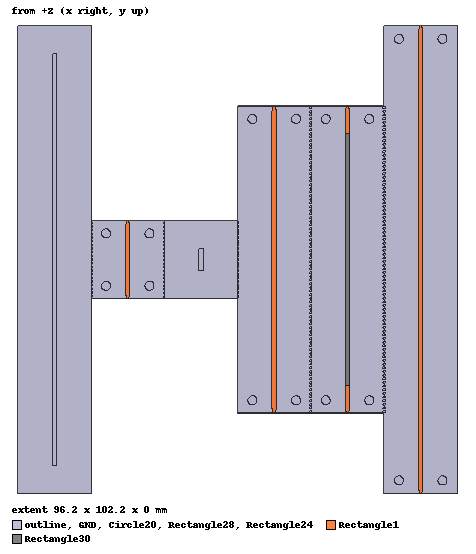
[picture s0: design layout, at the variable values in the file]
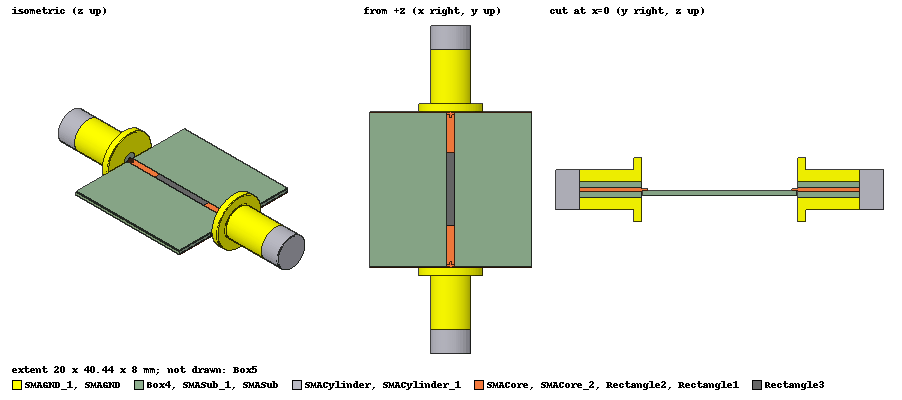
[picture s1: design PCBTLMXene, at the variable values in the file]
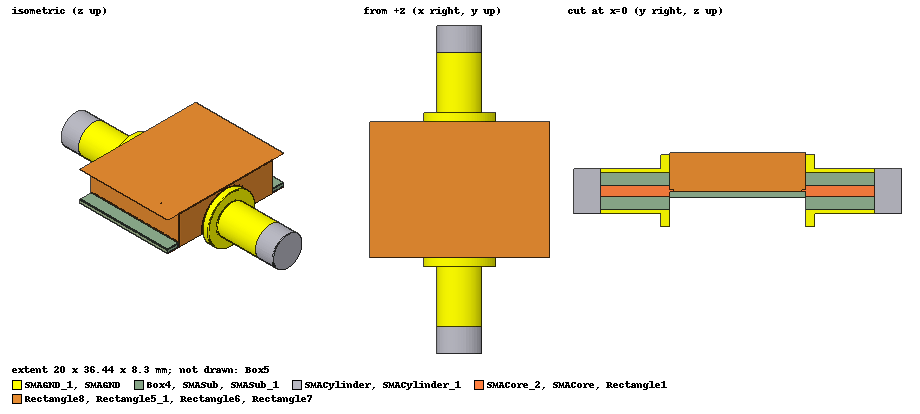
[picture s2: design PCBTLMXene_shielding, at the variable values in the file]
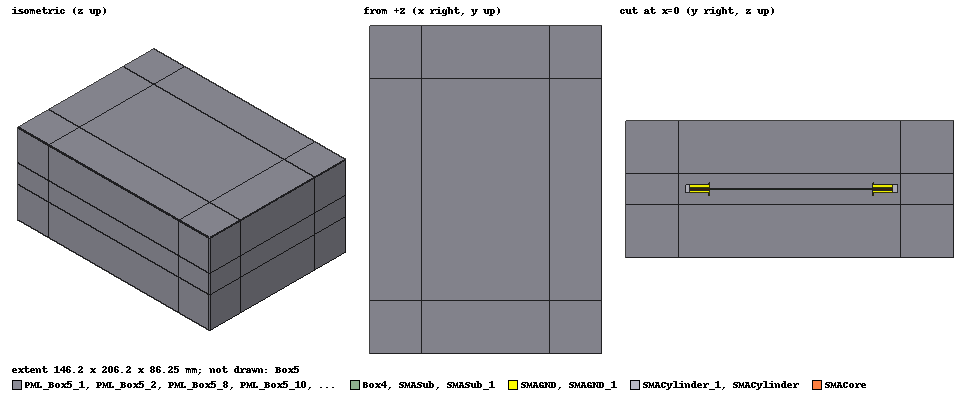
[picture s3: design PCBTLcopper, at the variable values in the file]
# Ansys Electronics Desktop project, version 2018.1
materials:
  vacuum: permittivity=1
  FR4_epoxy: permittivity=4.4 dielectric_loss_tangent=0.02
  Teflon (tm): permittivity=2.1 dielectric_loss_tangent=0.001
  brass: conductivity=15000000
  copper: permeability=0.999991 conductivity=58000000
  pec: conductivity=1e+30
  PMLGroup1_XYZ_7: permittivity{anisotropic component1=1.1 component2=1.1 component3=1.1} permeability{anisotropic component1=1.1 component2=1.1 component3=1.1} dielectric_loss_tangent{anisotropic component1=1 component2=1 component3=1} magnetic_loss_tangent{anisotropic component1=1 component2=1 component3=1}
  PMLGroup1_XZ_7: permittivity{anisotropic component1=1 component2=0.01 component3=1} permeability{anisotropic component1=1 component2=0.01 component3=1} dielectric_loss_tangent{anisotropic component1=0 component2=242 component3=0} magnetic_loss_tangent{anisotropic component1=0 component2=242 component3=0}
  PMLGroup1_YZ_7: permittivity{anisotropic component1=0.01 component2=1 component3=1} permeability{anisotropic component1=0.01 component2=1 component3=1} dielectric_loss_tangent{anisotropic component1=242 component2=0 component3=0} magnetic_loss_tangent{anisotropic component1=242 component2=0 component3=0}
  PMLGroup1_Z_7: permittivity{anisotropic component1=1.1 component2=1.1 component3=0.45454545} permeability{anisotropic component1=1.1 component2=1.1 component3=0.45454545} dielectric_loss_tangent{anisotropic component1=1 component2=1 component3=-1} magnetic_loss_tangent{anisotropic component1=1 component2=1 component3=-1}
  nickel: permeability=600 conductivity=14500000
  steel_stainless: conductivity=1100000
  PMLGroup1_Z_8: permittivity{anisotropic component1=1.1 component2=1.1 component3=0.45454545} permeability{anisotropic component1=1.1 component2=1.1 component3=0.45454545} dielectric_loss_tangent{anisotropic component1=1 component2=1 component3=-1} magnetic_loss_tangent{anisotropic component1=1 component2=1 component3=-1}
  PMLGroup1_XZ_8: permittivity{anisotropic component1=1 component2=0.01 component3=1} permeability{anisotropic component1=1 component2=0.01 component3=1} dielectric_loss_tangent{anisotropic component1=0 component2=242 component3=0} magnetic_loss_tangent{anisotropic component1=0 component2=242 component3=0}
  PMLGroup1_YZ_8: permittivity{anisotropic component1=0.01 component2=1 component3=1} permeability{anisotropic component1=0.01 component2=1 component3=1} dielectric_loss_tangent{anisotropic component1=242 component2=0 component3=0} magnetic_loss_tangent{anisotropic component1=242 component2=0 component3=0}
  PMLGroup1_XYZ_8: permittivity{anisotropic component1=1.1 component2=1.1 component3=1.1} permeability{anisotropic component1=1.1 component2=1.1 component3=1.1} dielectric_loss_tangent{anisotropic component1=1 component2=1 component3=1} magnetic_loss_tangent{anisotropic component1=1 component2=1 component3=1}

design layout (HFSS, DrivenModal, model units mm)
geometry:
  Rectangle1 = rectangle(corner=(-19mil, 0mm, 0mm), x_size=38mil, y_size=-40mil)
  Polyline1 = polyline(z=0mm, xy in mm: (-0.2032, -1.016) (-0.4826, 0) (-0.4826, -1.016) (-0.2032, -1.016), closed, covered)
  Polyline1_1 = Polyline1.duplicate_mirror(point=(0mm, 0mm, 0mm), normal=(1mm, 0mm, 0mm))
  Rectangle1.subtract(Polyline1, Polyline1_1)
  Rectangle2 = rectangle(corner=(-0.4826mm, 0mm, 0mm), x_size=38mil, y_size=5mm)
  Rectangle1.unite(Rectangle2)
  Rectangle1.move(0mm, -5mm, 0mm)
  Circle20 = circle(normal=Z, centre=(-4.765mm, 2.79mm, 0mm), radius=0.9906mm)
  Circle20_1 = Circle20.duplicate_mirror(point=(0mm, 0mm, 0mm), normal=(1mm, 0mm, 0mm))
  Circle20.unite(Circle20_1)
  Circle20.move(0mm, -6.016mm, 0mm)
  Rectangle1_1..Rectangle1_5 = Rectangle1.duplicate_along_line(step=(16mm, 0mm, 0mm), total=6)
  Circle20_2..Circle20_6 = Circle20.duplicate_along_line(step=(16mm, 0mm, 0mm), total=6)
  [Circle20, Rectangle1].move(0mm, -2.5mm, 0mm)
  Circle20_7 = Circle20.duplicate_mirror(point=(0mm, 0mm, 0mm), normal=(0mm, 1mm, 0mm))
  Rectangle1_6 = Rectangle1.duplicate_mirror(point=(0mm, 0mm, 0mm), normal=(0mm, 1mm, 0mm))
  GND = rectangle(corner=(-8mm, -5mm-40mil-2.5mm, 0mm), x_size=16mm, y_size=-2*(-5mm-40mil-2.5mm))
  [Circle20_2, Rectangle1_1].move(0mm, -2.5mm, 0mm)
  Circle20_2_1 = Circle20_2.duplicate_mirror(point=(0mm, 0mm, 0mm), normal=(0mm, 1mm, 0mm))
  Rectangle1_1_1 = Rectangle1_1.duplicate_mirror(point=(0mm, 0mm, 0mm), normal=(0mm, 1mm, 0mm))
  Rectangle4 = rectangle(corner=(8mm, (-5mm-40mil-2.5mm), 0mm), x_size=16mm, y_size=-2*(-5mm-40mil-2.5mm))
  [Circle20_3, Rectangle1_2].move(0mm, -27.5mm, 0mm)
  Circle20_3_1 = Circle20_3.duplicate_mirror(point=(0mm, 0mm, 0mm), normal=(0mm, 1mm, 0mm))
  Rectangle1_2_1 = Rectangle1_2.duplicate_mirror(point=(0mm, 0mm, 0mm), normal=(0mm, 1mm, 0mm))
  Rectangle5 = rectangle(corner=(24mm, (-5mm-40mil-27.5mm), 0mm), x_size=16mm, y_size=-2*(-5mm-40mil-27.5mm))
  [Circle20_4, Rectangle1_3].move(0mm, -27.5mm, 0mm)
  Circle20_4_1 = Circle20_4.duplicate_mirror(point=(0mm, 0mm, 0mm), normal=(0mm, 1mm, 0mm))
  Rectangle1_3_1 = Rectangle1_3.duplicate_mirror(point=(0mm, 0mm, 0mm), normal=(0mm, 1mm, 0mm))
  Rectangle6 = rectangle(corner=(40mm, (-5mm-40mil-27.5mm), 0mm), x_size=16mm, y_size=-2*(-5mm-40mil-27.5mm))
  [Circle20_5, Rectangle1_4].move(0mm, -45mm, 0mm)
  Circle20_5_1 = Circle20_5.duplicate_mirror(point=(0mm, 0mm, 0mm), normal=(0mm, 1mm, 0mm))
  Rectangle1_4_1 = Rectangle1_4.duplicate_mirror(point=(0mm, 0mm, 0mm), normal=(0mm, 1mm, 0mm))
  Rectangle7 = rectangle(corner=(56mm, (-5mm-40mil-45mm), 0mm), x_size=16mm, y_size=-2*(-5mm-40mil-45mm))
  Rectangle8 = rectangle(corner=(-8mm, (-5mm-40mil-45mm), 0mm), x_size=-16mm, y_size=-2*(-5mm-40mil-45mm))
  [Circle20_6, Rectangle1_5].move(-96mm, -45mm, 0mm)
  Circle20_6_1 = Circle20_6.duplicate_mirror(point=(0mm, 0mm, 0mm), normal=(0mm, 1mm, 0mm))
  Rectangle1_5_1 = Rectangle1_5.duplicate_mirror(point=(0mm, 0mm, 0mm), normal=(0mm, 1mm, 0mm))
  Circle21 = circle(normal=Z, centre=(-8mm, -8mm, 0mm), radius=0.25mm)
  Circle21.duplicate_along_line(step=(0mm, 0.8mm, 0mm), total=21, attached)
  Circle21_1, Circle21_2 = Circle21.duplicate_along_line(step=(16mm, 0mm, 0mm), total=3)
  Circle22 = circle(normal=Z, centre=(40mm, -33.2mm, 0mm), radius=0.25mm)
  Circle22.duplicate_along_line(step=(0mm, 0.8mm, 0mm), total=84, attached)
  GND.unite(Rectangle4..Rectangle8)
  Rectangle10 = rectangle(corner=(-0.4826mm, -2.5mm, 0mm), x_size=0.9652mm, y_size=5mm)
  Rectangle11 = rectangle(corner=(31.5174mm, -27.5mm, 0mm), x_size=0.9652mm, y_size=55mm)
  Rectangle12 = rectangle(corner=(63.5174mm, -45mm, 0mm), x_size=0.9652mm, y_size=90mm)
  Rectangle1.unite(Rectangle1_1, Rectangle1_1_1, Rectangle1_2, Rectangle1_2_1, Rectangle1_3, Rectangle1_3_1, Rectangle1_4, Rectangle1_4_1, Rectangle1_5, Rectangle1_5_1, Rectangle1_6, Rectangle10, Rectangle11, Rectangle12)
  outline = rectangle(corner=(-24mm, -51.116mm, 0mm), x_size=-0.1mm, y_size=102.216mm)
  Rectangle16 = rectangle(corner=(-8mm, -8.516mm, 0mm), x_size=0.1mm, y_size=-42.6mm)
  Rectangle17 = rectangle(corner=(-24mm, -51.116mm, 0mm), x_size=16mm, y_size=0.1mm)
  Rectangle18 = rectangle(corner=(-7.9mm, -8.516mm, 0mm), x_size=31.9mm, y_size=-0.1mm)
  Rectangle19 = rectangle(corner=(24mm, -8.616mm, 0mm), x_size=-0.1mm, y_size=-25mm)
  Rectangle20 = rectangle(corner=(24mm, -33.616mm, 0mm), x_size=32mm, y_size=0.1mm)
  Rectangle21 = rectangle(corner=(56mm, -33.616mm, 0mm), x_size=-0.1mm, y_size=-17.5mm)
  Rectangle22 = rectangle(corner=(56mm, -51.116mm, 0mm), x_size=16.1mm, y_size=0.1mm)
  Rectangle23 = rectangle(corner=(72.1mm, -51.016mm, 0mm), x_size=-0.1mm, y_size=102.032mm)
  outline.unite(Rectangle16..Rectangle23)
  Rectangle15_1 = outline.duplicate_mirror(point=(0mm, 0mm, 0mm), normal=(0mm, 1mm, 0mm))
  outline.unite(Rectangle15_1)
  Circle22_1 = Circle22.duplicate_along_line(step=(16mm, 0mm, 0mm), total=2)
  Circle20.unite(Circle20_2, Circle20_2_1, Circle20_3, Circle20_3_1, Circle20_4, Circle20_4_1, Circle20_5, Circle20_5_1, Circle20_6, Circle20_6_1, Circle20_7, Circle21, Circle21_1, Circle21_2, Circle22, Circle22_1)
  Rectangle24 = rectangle(corner=(8mm, -8.5mm, 0mm), x_size=16mm, y_size=17.016mm)
  Rectangle25 = rectangle(corner=(15.5174mm, -2.5mm, 0mm), x_size=0.9652mm, y_size=5mm)
  Rectangle24.subtract(Rectangle25)
  Rectangle28 = rectangle(corner=(-24mm, -51.016mm, 0mm), x_size=16mm, y_size=102.032mm)
  Rectangle29 = rectangle(corner=(-16.4826mm, -45mm, 0mm), x_size=0.9652mm, y_size=90mm)
  Rectangle28.subtract(Rectangle29)
  Rectangle30 = rectangle(corner=(47.5174mm, -27.5mm, 0mm), x_size=0.9652mm, y_size=55mm)

design PCBTLMXene (HFSS, DrivenModal, model units mm)
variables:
  w50 = 38mil
  R_core = 0.2675mm
  R_pin = 0.1mm
  L_pin = 0.7mm
  R_out = 1.85mm/2
  Length = 19mm
  th = 0.6mm
  cond = 800000
  h_sbox = 5mm
  th_MX = 0.7um
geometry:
  SMACore [copper] = cylinder(axis=Y, base_centre=(0mm, 0mm, 0mm), radius=R_core, height=-7.62mm)
  Core_1 = SMACore.copy()
  SMACore.move(0mm, -0.1mm, R_pin)
  SMAPin = cylinder(axis=Y, base_centre=(0mm, 0mm, 0mm), radius=R_pin, height=L_pin)
  SMAPin.move(0mm, -0.1mm, R_pin)
  SMACore.unite(SMAPin)
  SMACore_1 = SMACore.copy()
  coordinate_system RelativeCS2 = origin=(0mm, Length/2, 0mm) x=(1mm, 0mm, 0mm) y=(0mm, 1mm, 0mm)
  SMACore_2 [copper] = SMACore.duplicate_mirror(point=(0mm, 0mm, 0mm), normal=(0mm, 1mm, 0mm)) in RelativeCS2
  Box3 = box(corner=(w50/2, 0, 0mm), size=(-w50, 0.2mm, 0.1mm))
  Box3_1 = Box3.duplicate_mirror(point=(0mm, 0mm, 0mm), normal=(0mm, 1mm, 0mm)) in RelativeCS2
  SMACore.unite(Box3)
  SMASub [Teflon (tm)] = cylinder(axis=Y, base_centre=(0mm, 0mm, 0mm), radius=R_out, height=-7.62mm)
  Sub_1 = SMASub.copy()
  SMASub.subtract(Core_1)
  SMASub.move(0mm, -0.1mm, R_pin)
  SMASub.subtract(SMACore_1)
  SMASub_1 [Teflon (tm)] = SMASub.duplicate_mirror(point=(0mm, 0mm, 0mm), normal=(0mm, 1mm, 0mm)) in RelativeCS2
  SMAGND [brass] = cylinder(axis=Y, base_centre=(0mm, 0mm, 0mm), radius=2.5mm, height=-7.62mm)
  Cylinder5 = cylinder(axis=Y, base_centre=(0mm, 0mm, 0mm), radius=4mm, height=-1mm)
  SMAGND.unite(Cylinder5)
  SMAGND.subtract(Sub_1)
  SMAGND.move(0mm, -0.1mm, R_pin)
  SMAGND_1 [brass] = SMAGND.duplicate_mirror(point=(0mm, 0mm, 0mm), normal=(0mm, 1mm, 0mm)) in RelativeCS2
  SMAport1 = circle(normal=Y, centre=(0mm, -7.62mm, 0mm), radius=R_out)
  Circle1 = circle(normal=Y, centre=(0mm, -7.62mm, 0mm), radius=R_core)
  SMAport1.subtract(Circle1)
  SMAport1.move(0mm, -0.1mm, R_pin)
  SMAport2 = SMAport1.duplicate_mirror(point=(0mm, 0mm, 0mm), normal=(0mm, 1mm, 0mm)) in RelativeCS2
  SMACylinder [pec] = cylinder(axis=Y, base_centre=(0mm, -7.62mm, 0mm), radius=2.5mm, height=-3mm)
  SMACylinder.move(0mm, -0.1mm, R_pin)
  SMACylinder_1 [pec] = SMACylinder.duplicate_mirror(point=(0mm, 0mm, 0mm), normal=(0mm, 1mm, 0mm)) in RelativeCS2
  SMACore_2.unite(Box3_1)
  Rectangle1 = rectangle(corner=(-w50/2, 0, 0mm), x_size=w50, y_size=5mm)
  Box4 [FR4_epoxy] = box(corner=(-10mm, 0mm, 0mm), size=(20mm, Length, -th))
  Rectangle2 = rectangle(corner=(10mm, -0.1mm, -th), x_size=-20mm, y_size=length+0.2mm)
  Box5 [vacuum] = box(corner=(-40mm, -20mm, -10mm), size=(80mm, 140mm, 20mm))
  Rectangle3 = rectangle(corner=(-w50/2, 5mm, 0mm), x_size=w50, y_size=Length-10mm)
  Rectangle1_1 = Rectangle1.duplicate_mirror(point=(0mm, 0mm, 0mm), normal=(0mm, 1mm, 0mm)) in RelativeCS2
  Rectangle1.unite(Rectangle1_1)
  group SMA_Group = SMACore, SMASub, SMAGND, SMAport1, SMACylinder, SMACore_2, SMASub_1, SMAGND_1, SMAport2, SMACylinder_1
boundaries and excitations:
  FiniteCond1: Finite Conductivity Objects=Rectangle2 Conductivity=58000000 Permeability=1 Thickness=35um Roughness=1um IsInternal
  FiniteCond2: Finite Conductivity Objects=Rectangle1 UseMaterial Material=copper Thickness=35um Roughness=1um IsInternal
  Rad1: Radiation Objects=Box5
  MXene: Finite Conductivity Objects=Rectangle3 Conductivity=cond Permeability=1 Thickness=th_MX IsInternal
  1: Wave Port Objects=SMAport1 NumModes=1 Modes{Mode1{CharImp=Zpi}}
  2: Wave Port Objects=SMAport2 NumModes=1 Modes{Mode1{CharImp=Zpi}}
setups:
  Setup1: HfssDriven Frequency=2GHz MaxDeltaS=0.02 MaximumPasses=20 MinimumPasses=1 MinimumConvergedPasses=1 PercentRefinement=30 BasisOrder=1 PortAccuracy=2
    sweep Sweep: 0.5GHz to 10GHz, 96 points; Type=Discrete SaveFields SaveRadFields
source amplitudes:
  1:1: 1W 0deg
  2:1: 0W 0deg
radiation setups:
  Infinite Sphere1: Infinite Sphere Theta=-180deg..180deg step 2deg Phi=-180deg..180deg step 2deg
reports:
  S Parameter Plot 3: dB(S(2,1)) vs Freq on Setup1 : Sweep [w50=all cond=400000,800000 th_MX=0.7um,1.4um]; markers m1 at 5.02GHz, m2 at 5.02GHz, m5 at 10GHz, m6 at 0.5GHz
  S Parameter Plot 4: re(S(1,1)), im(S(1,1)), re(S(1,2)), im(S(1,2)), re(S(2,1)), im(S(2,1)), re(S(2,2)), im(S(2,2)) vs Freq on Setup1 : Sweep
  Attenuation: -dB(S(2,1))/8.68/length, dB((1-mag(S(1,1))^2)/mag(S(2,1))^2)/8.68/2/length vs Freq on Setup1 : Sweep
   Plot 2: cang_deg(S(1,2))-2*pi vs Freq on Setup1 : Sweep [Length=15mm,30mm,50mm,80mm cond=1e+06]; markers m1 at 1GHz, m2 at 10GHz
  Antenna Params Table 1: RadiationEfficiency vs Freq on Setup1 : LastAdaptive; RadiationEfficiency vs Freq on Setup1 : Sweep [Freq=10GHz]
  S Parameter Chart 1: S(1,1) on Setup1 : Sweep [Freq=all]; markers m1 at 1GHz

design PCBTLMXene_shielding (HFSS, DrivenModal, model units mm)
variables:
  w50 = 38mil
  R_core = 0.635mm
  R_pin = 0.1mm
  L_pin = 0.5mm
  R_out = 2.0574mm
  Length = 15mm
  th = 0.6mm
  cond = 250000
  h_sbox = 5mm
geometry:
  SMACore [copper] = cylinder(axis=Y, base_centre=(0mm, 0mm, 0mm), radius=R_core, height=-7.62mm)
  Core_1 = SMACore.copy()
  SMACore.move(0mm, -0.1mm, R_pin)
  SMAPin = cylinder(axis=Y, base_centre=(0mm, 0mm, 0mm), radius=R_pin, height=L_pin)
  SMAPin.move(0mm, -0.1mm, R_pin)
  SMACore.unite(SMAPin)
  SMACore_1 = SMACore.copy()
  coordinate_system RelativeCS2 = origin=(0mm, Length/2, 0mm) x=(1mm, 0mm, 0mm) y=(0mm, 1mm, 0mm)
  SMACore_2 [copper] = SMACore.duplicate_mirror(point=(0mm, 0mm, 0mm), normal=(0mm, 1mm, 0mm)) in RelativeCS2
  Box3 = box(corner=(w50/2, 0, 0mm), size=(-w50, 0.2mm, 0.1mm))
  Box3_1 = Box3.duplicate_mirror(point=(0mm, 0mm, 0mm), normal=(0mm, 1mm, 0mm)) in RelativeCS2
  SMACore.unite(Box3)
  SMASub [Teflon (tm)] = cylinder(axis=Y, base_centre=(0mm, 0mm, 0mm), radius=R_out, height=-7.62mm)
  Sub_1 = SMASub.copy()
  SMASub.subtract(Core_1)
  SMASub.move(0mm, -0.1mm, R_pin)
  SMASub.subtract(SMACore_1)
  SMASub_1 [Teflon (tm)] = SMASub.duplicate_mirror(point=(0mm, 0mm, 0mm), normal=(0mm, 1mm, 0mm)) in RelativeCS2
  SMAGND [brass] = cylinder(axis=Y, base_centre=(0mm, 0mm, 0mm), radius=2.5mm, height=-7.62mm)
  Cylinder5 = cylinder(axis=Y, base_centre=(0mm, 0mm, 0mm), radius=4mm, height=-1mm)
  SMAGND.unite(Cylinder5)
  SMAGND.subtract(Sub_1)
  SMAGND.move(0mm, -0.1mm, R_pin)
  SMAGND_1 [brass] = SMAGND.duplicate_mirror(point=(0mm, 0mm, 0mm), normal=(0mm, 1mm, 0mm)) in RelativeCS2
  SMAport1 = circle(normal=Y, centre=(0mm, -7.62mm, 0mm), radius=R_out)
  Circle1 = circle(normal=Y, centre=(0mm, -7.62mm, 0mm), radius=R_core)
  SMAport1.subtract(Circle1)
  SMAport1.move(0mm, -0.1mm, R_pin)
  SMAport2 = SMAport1.duplicate_mirror(point=(0mm, 0mm, 0mm), normal=(0mm, 1mm, 0mm)) in RelativeCS2
  SMACylinder [pec] = cylinder(axis=Y, base_centre=(0mm, -7.62mm, 0mm), radius=2.5mm, height=-3mm)
  SMACylinder.move(0mm, -0.1mm, R_pin)
  SMACylinder_1 [pec] = SMACylinder.duplicate_mirror(point=(0mm, 0mm, 0mm), normal=(0mm, 1mm, 0mm)) in RelativeCS2
  SMACore_2.unite(Box3_1)
  Rectangle1 = rectangle(corner=(-w50/2, 0, 0mm), x_size=w50, y_size=5mm)
  Box4 [FR4_epoxy] = box(corner=(-10mm, 0mm, 0mm), size=(20mm, Length, -th))
  Rectangle2 = rectangle(corner=(10mm, -0.1mm, -th), x_size=-20mm, y_size=length+0.2mm)
  Box5 [vacuum] = box(corner=(-40mm, -20mm, -10mm), size=(80mm, 50mm, 20mm))
  Rectangle3 = rectangle(corner=(-w50/2, 5mm, 0mm), x_size=w50, y_size=Length-10mm)
  Rectangle1_1 = Rectangle1.duplicate_mirror(point=(0mm, 0mm, 0mm), normal=(0mm, 1mm, 0mm)) in RelativeCS2
  Rectangle1.unite(Rectangle1_1)
  Rectangle5 = rectangle(corner=(-8mm, -0.1mm, -0.6mm), z_size=h_sbox, x_size=16mm)
  Circle2 = circle(normal=Y, centre=(0mm, -0.1mm, R_pin), radius=4mm)
  Rectangle5.subtract(Circle2)
  Rectangle6 = rectangle(corner=(8mm, -0.1mm, -th), y_size=0.2mm+length, z_size=h_sbox)
  Rectangle7 = rectangle(corner=(-8mm, -0.1mm, -th), y_size=0.2mm+length, z_size=h_sbox)
  Rectangle8 = rectangle(corner=(10mm, -0.1mm, h_sbox-th), x_size=-20mm, y_size=0.2mm+length)
  Rectangle5_1 = Rectangle5.duplicate_along_line(step=(0mm, 0.2mm+length, 0mm), total=2)
  Rectangle1.unite(Rectangle3)
  Rectangle1.unite(Rectangle2)
  group SMA_Group = SMACore, SMASub, SMAGND, SMAport1, SMACylinder, SMACore_2, SMASub_1, SMAGND_1, SMAport2, SMACylinder_1
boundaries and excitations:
  Rad1: Radiation Objects=Box5
  PerfE1: Perfect E Objects=[Rectangle5, Rectangle5_1, Rectangle6, Rectangle7, Rectangle8]
  FiniteCond1: Finite Conductivity Objects=Rectangle1 Conductivity=cond Permeability=1 Thickness=30um IsInternal
  1: Wave Port Objects=SMAport1 NumModes=1 Modes{Mode1{CharImp=Zpi}}
  2: Wave Port Objects=SMAport2 NumModes=1 Modes{Mode1{CharImp=Zpi}}
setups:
  Setup1: HfssDriven Frequency=5GHz MaxDeltaS=0.01 MaximumPasses=20 MinimumPasses=1 MinimumConvergedPasses=1 PercentRefinement=30 BasisOrder=1 PortAccuracy=2
    sweep Sweep: point 10GHz; point 5GHz; point 2.5GHz; Type=Discrete SaveFields SaveRadFields
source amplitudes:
  1:1: 1W 0deg
  2:1: 0W 0deg
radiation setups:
  Infinite Sphere1: Infinite Sphere Theta=-180deg..180deg step 2deg Phi=-180deg..180deg step 2deg
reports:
  S Parameter Chart 1: S(1,1), S(2,2) on Setup1 : Sweep [Freq=all cond=1e+06]
  S Parameter Plot 2: cang_deg(S(1,2)) vs Freq on Setup1 : Sweep [Length=15mm,30mm,50mm,80mm cond=1e+06]; markers m1 at 1GHz, m2 at 10GHz, m3 at 1.02GHz, m4 at 10GHz, m5 at 1GHz, m6 at 10GHz
  S Parameter Plot 3: dB(S(2,1)), dB(S(1,1)) vs Freq on Setup1 : Sweep; markers m1 at 5.02GHz, m2 at 5.02GHz, m3 at 4.4GHz, m4 at 3.8GHz
  S Parameter Plot 4: re(S(1,1)), im(S(1,1)), re(S(1,2)), im(S(1,2)), re(S(2,1)), im(S(2,1)), re(S(2,2)), im(S(2,2)) vs Freq on Setup1 : Sweep
   Plot 1: dB((1-mag(S(1,1))^2)/mag(S(2,1))^2)/8.68/2/length/100, -dB(S(1,2))/8.68/length/100 vs Freq on Setup1 : Sweep; markers m1 at 10GHz, m2 at 10GHz, m3 at 5GHz, m4 at 2.5GHz
   Plot 2: dB(S(1,2)) vs Freq on Setup1 : Sweep [Length=15mm,30mm,50mm,80mm cond=1e+06]; markers m1 at 1GHz, m2 at 10GHz
  Antenna Params Table 1: RadiationEfficiency vs Freq on Setup1 : LastAdaptive
  S Parameter Plot 5: dB(S(1,2)) vs Freq on Setup1 : Sweep; markers m1 at 9GHz

design PCBTLcopper (HFSS, DrivenModal, model units mm)
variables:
  w50 = 38mil
  R_core = 0.2675mm
  R_pin = 0.13mm
  L_pin = 0.7mm
  R_out = 1.85mm/2
  Length = 102mm
  th = 0.6mm
  cond = 58000000
  L_connector = 12.6mm
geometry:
  SMACore [copper] = cylinder(axis=Y, base_centre=(0mm, 0mm, 0mm), radius=R_core, height=-L_connector)
  Core_1 = SMACore.copy()
  SMACore.move(0mm, -0.1mm, R_pin+35um)
  SMAPin = cylinder(axis=Y, base_centre=(0mm, 0mm, 0mm), radius=R_pin, height=L_pin)
  SMAPin.move(0mm, -0.1mm, R_pin)
  SMACore.unite(SMAPin)
  SMACore_1 = SMACore.copy()
  coordinate_system RelativeCS2 = origin=(0mm, Length/2, 0mm) x=(1mm, 0mm, 0mm) y=(0mm, 1mm, 0mm)
  SMACore_2 = SMACore.duplicate_mirror(point=(0mm, 0mm, 0mm), normal=(0mm, 1mm, 0mm)) in RelativeCS2
  Box3 = box(corner=(w50/2, 0, 0mm), size=(-w50, 0.2mm, 0.1mm))
  Box3_1 = Box3.duplicate_mirror(point=(0mm, 0mm, 0mm), normal=(0mm, 1mm, 0mm)) in RelativeCS2
  SMACore.unite(Box3)
  SMASub [Teflon (tm)] = cylinder(axis=Y, base_centre=(0mm, 0mm, 0mm), radius=R_out, height=-L_connector)
  Sub_1 = SMASub.copy()
  SMASub.subtract(Core_1)
  SMASub.move(0mm, -0.1mm, R_pin)
  SMASub.subtract(SMACore_1)
  SMASub_1 [Teflon (tm)] = SMASub.duplicate_mirror(point=(0mm, 0mm, 0mm), normal=(0mm, 1mm, 0mm)) in RelativeCS2
  SMAGND [steel_stainless] = cylinder(axis=Y, base_centre=(0mm, 0mm, 0mm), radius=2.5mm, height=-L_connector)
  Cylinder5 = cylinder(axis=Y, base_centre=(0mm, 0mm, 0mm), radius=4mm, height=-1mm)
  SMAGND.unite(Cylinder5)
  SMAGND.subtract(Sub_1)
  SMAGND.move(0mm, -0.1mm, R_pin)
  SMAGND_1 [steel_stainless] = SMAGND.duplicate_mirror(point=(0mm, 0mm, 0mm), normal=(0mm, 1mm, 0mm)) in RelativeCS2
  SMAport1 = circle(normal=Y, centre=(0mm, -L_connector, 0mm), radius=R_out)
  Circle1 = circle(normal=Y, centre=(0mm, -7.62mm, 0mm), radius=R_core)
  SMAport1.subtract(Circle1)
  SMAport1.move(0mm, -0.1mm, R_pin)
  SMAport2 = SMAport1.duplicate_mirror(point=(0mm, 0mm, 0mm), normal=(0mm, 1mm, 0mm)) in RelativeCS2
  SMACylinder [pec] = cylinder(axis=Y, base_centre=(0mm, -L_connector, 0mm), radius=2.5mm, height=-3mm)
  SMACylinder.move(0mm, -0.1mm, R_pin)
  SMACylinder_1 [pec] = SMACylinder.duplicate_mirror(point=(0mm, 0mm, 0mm), normal=(0mm, 1mm, 0mm)) in RelativeCS2
  SMACore_2.unite(Box3_1)
  Rectangle1 = rectangle(corner=(-w50/2, 0, 0mm), x_size=w50, y_size=Length)
  Box4 [FR4_epoxy] = box(corner=(-30mm, 0mm, 0mm), size=(60mm, Length, -th))
  Rectangle2 = rectangle(corner=(30mm, -0.1mm, -th), x_size=-60mm, y_size=length+0.2mm)
  Box5 [vacuum] = box(corner=(-40mm, -20mm, -10mm), size=(80mm, 140mm, 20mm))
  Rectangle1.thicken(35um)
  SMACore.unite(SMACore_2, Rectangle1)
  Rectangle3 [nickel] = rectangle(corner=(-w50/2, 0.6mm, 35um), x_size=w50, y_size=length-1.2mm)
  coordinate_system FaceCS1 = face of Box5: Origin=Box5.vertex(1 of 8) FaceID=Box5.face(+z) AxisPosn=Box5.vertex(2 of 8) WhichAxis=X
  PML_Box5_1 [PMLGroup1_Z_8, oriented by FaceCS1] = sweep_along_normal(Box5.face(+z), length=33.12418mm)
  coordinate_system FaceCS2 = face of Box5: Origin=Box5.vertex(5 of 8) FaceID=Box5.face(-z) AxisPosn=Box5.vertex(6 of 8) WhichAxis=X
  PML_Box5_2 [PMLGroup1_Z_8, oriented by FaceCS2] = sweep_along_normal(Box5.face(-z), length=33.12418mm)
  coordinate_system FaceCS3 = face of Box5: Origin=Box5.vertex(4 of 8) FaceID=Box5.face(-y) AxisPosn=Box5.vertex(7 of 8) WhichAxis=X
  PML_Box5_3 [PMLGroup1_Z_8, oriented by FaceCS3] = sweep_along_normal(Box5.face(-y), length=33.12418mm)
  coordinate_system FaceCS4 = face of Box5: Origin=Box5.vertex(3 of 8) FaceID=Box5.face(-x) AxisPosn=Box5.vertex(8 of 8) WhichAxis=X
  PML_Box5_4 [PMLGroup1_Z_8, oriented by FaceCS4] = sweep_along_normal(Box5.face(-x), length=33.12418mm)
  coordinate_system FaceCS5 = face of Box5: Origin=Box5.vertex(2 of 8) FaceID=Box5.face(+y) AxisPosn=Box5.vertex(5 of 8) WhichAxis=X
  PML_Box5_5 [PMLGroup1_Z_8, oriented by FaceCS5] = sweep_along_normal(Box5.face(+y), length=33.12418mm)
  coordinate_system FaceCS6 = face of Box5: Origin=Box5.vertex(1 of 8) FaceID=Box5.face(+x) AxisPosn=Box5.vertex(6 of 8) WhichAxis=X
  PML_Box5_6 [PMLGroup1_Z_8, oriented by FaceCS6] = sweep_along_normal(Box5.face(+x), length=33.12418mm)
  PML_Box5_7 [PMLGroup1_XZ_8, oriented by FaceCS3] = sweep_along_normal(PML_Box5_1.face(at (0, -20, 26.5621)), length=33.12418mm)
  PML_Box5_8 [PMLGroup1_XZ_8, oriented by FaceCS4] = sweep_along_normal(PML_Box5_1.face(at (-40, 50, 26.5621)), length=33.12418mm)
  PML_Box5_9 [PMLGroup1_XZ_8, oriented by FaceCS5] = sweep_along_normal(PML_Box5_1.face(at (0, 120, 26.5621)), length=33.12418mm)
  PML_Box5_10 [PMLGroup1_YZ_8, oriented by FaceCS1] = sweep_along_normal(PML_Box5_1.face(at (40, 50, 26.5621)), length=33.12418mm)
  coordinate_system FaceCS7 = face of Box5: Origin=Box5.vertex(6 of 8) FaceID=Box5.face(-z) AxisPosn=Box5.vertex(7 of 8) WhichAxis=X
  PML_Box5_11 [PMLGroup1_YZ_8, oriented by FaceCS7] = sweep_along_normal(PML_Box5_2.face(at (0, -20, -26.5621)), length=33.12418mm)
  coordinate_system FaceCS8 = face of Box5: Origin=Box5.vertex(7 of 8) FaceID=Box5.face(-z) AxisPosn=Box5.vertex(8 of 8) WhichAxis=X
  PML_Box5_12 [PMLGroup1_YZ_8, oriented by FaceCS8] = sweep_along_normal(PML_Box5_2.face(at (-40, 50, -26.5621)), length=33.12418mm)
  PML_Box5_13 [PMLGroup1_XZ_8, oriented by FaceCS2] = sweep_along_normal(PML_Box5_2.face(at (0, 120, -26.5621)), length=33.12418mm)
  PML_Box5_14 [PMLGroup1_YZ_8, oriented by FaceCS2] = sweep_along_normal(PML_Box5_2.face(at (40, 50, -26.5621)), length=33.12418mm)
  PML_Box5_15 [PMLGroup1_YZ_8, oriented by FaceCS3] = sweep_along_normal(PML_Box5_3.face(at (-40, -36.5621, 0)), length=33.12418mm)
  PML_Box5_16 [PMLGroup1_YZ_8, oriented by FaceCS6] = sweep_along_normal(PML_Box5_3.face(at (40, -36.5621, 0)), length=33.12418mm)
  PML_Box5_17 [PMLGroup1_YZ_8, oriented by FaceCS4] = sweep_along_normal(PML_Box5_4.face(at (-56.5621, 120, 0)), length=33.12418mm)
  PML_Box5_18 [PMLGroup1_YZ_8, oriented by FaceCS5] = sweep_along_normal(PML_Box5_5.face(at (40, 136.562, 0)), length=33.12418mm)
  PML_Box5_19 [PMLGroup1_XYZ_8, oriented by FaceCS3] = sweep_along_normal(PML_Box5_7.face(at (-40, -36.5621, 26.5621)), length=33.12418mm)
  PML_Box5_20 [PMLGroup1_XYZ_8, oriented by FaceCS1] = sweep_along_normal(PML_Box5_7.face(at (40, -36.5621, 26.5621)), length=33.12418mm)
  PML_Box5_21 [PMLGroup1_XYZ_8, oriented by FaceCS4] = sweep_along_normal(PML_Box5_8.face(at (-56.5621, 120, 26.5621)), length=33.12418mm)
  PML_Box5_22 [PMLGroup1_XYZ_8, oriented by FaceCS5] = sweep_along_normal(PML_Box5_9.face(at (40, 136.562, 26.5621)), length=33.12418mm)
  PML_Box5_23 [PMLGroup1_XYZ_8, oriented by FaceCS8] = sweep_along_normal(PML_Box5_11.face(at (-40, -36.5621, -26.5621)), length=33.12418mm)
  PML_Box5_24 [PMLGroup1_XYZ_8, oriented by FaceCS7] = sweep_along_normal(PML_Box5_11.face(at (40, -36.5621, -26.5621)), length=33.12418mm)
  coordinate_system FaceCS9 = face of Box5: Origin=Box5.vertex(8 of 8) FaceID=Box5.face(-z) AxisPosn=Box5.vertex(5 of 8) WhichAxis=X
  PML_Box5_25 [PMLGroup1_XYZ_8, oriented by FaceCS9] = sweep_along_normal(PML_Box5_12.face(at (-56.5621, 120, -26.5621)), length=33.12418mm)
  PML_Box5_26 [PMLGroup1_XYZ_8, oriented by FaceCS2] = sweep_along_normal(PML_Box5_13.face(at (40, 136.562, -26.5621)), length=33.12418mm)
  group SMA_Group = SMACore, SMASub, SMAGND, SMAport1, SMACylinder, SMASub_1, SMAGND_1, SMAport2, SMACylinder_1
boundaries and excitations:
  FiniteCond1: Finite Conductivity Objects=Rectangle2 Conductivity=58000000 Permeability=1 Thickness=35um Roughness=1um IsInternal
  FiniteCond2: Finite Conductivity Objects=Rectangle3 UseMaterial Material=nickel Thickness=5um Roughness=1um IsInternal
  PML_radiation1: Radiation Faces=Box5.face(+z) IsForPML
  PML_radiation2: Radiation Faces=Box5.face(-z) IsForPML
  PML_radiation3: Radiation Faces=Box5.face(-y) IsForPML
  PML_radiation4: Radiation Faces=Box5.face(-x) IsForPML
  PML_radiation5: Radiation Faces=Box5.face(+y) IsForPML
  PML_radiation6: Radiation Faces=Box5.face(+x) IsForPML
  1: Wave Port Objects=SMAport1 NumModes=1 Modes{Mode1{CharImp=Zpi RenormImp=50ohm}}
  2: Wave Port Objects=SMAport2 NumModes=1 Modes{Mode1{CharImp=Zpi RenormImp=50ohm}}
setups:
  Setup1: HfssDriven Frequency=9GHz MaxDeltaS=0.02 MaximumPasses=20 MinimumPasses=1 MinimumConvergedPasses=1 PercentRefinement=30 BasisOrder=1 PortAccuracy=2
    sweep Sweep: 8GHz to 10GHz, 21 points; Type=Discrete SaveFields SaveRadFields
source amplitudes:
  1:1: 1W 0deg
  2:1: 0W 0deg
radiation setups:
  Infinite Sphere1: Infinite Sphere Theta=-180deg..180deg step 2deg Phi=-180deg..180deg step 2deg
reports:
  S Parameter Chart 1: S(1,1) on Setup1 : Sweep [Freq=all]
  S Parameter Plot 1: dB(S(1,1)), dB(S(1,2)) vs Freq on Setup1 : Sweep; markers m1 at 3GHz, m2 at 10GHz
  S Parameter Plot 2: dB(S(1,2)) vs Freq on Setup1 : Sweep; markers m1 at 3GHz, m2 at 3GHz, m3 at 4GHz, m4 at 10GHz, m5 at 8GHz
  Antenna Params Table 1: RadiationEfficiency vs Freq on Setup1 : LastAdaptive
